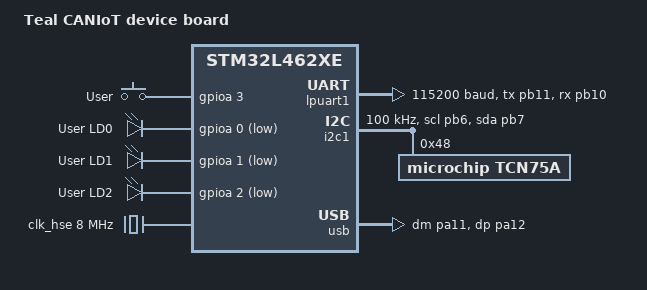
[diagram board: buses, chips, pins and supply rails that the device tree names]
/*
 * Copyright (c) 2024 Lucas Dietrich <ld.adecy@gmail.com>
 *
 * SPDX-License-Identifier: Apache-2.0
 */
 
 /dts-v1/;
 #include <st/l4/stm32l462Xe.dtsi>
 #include <st/l4/stm32l462retx-pinctrl.dtsi>
 #include <zephyr/dt-bindings/input/input-event-codes.h>


/ {
	model = "Teal CANIoT device board";
	compatible = "custom,teal_caniot";

	chosen {
		zephyr,sram = &sram0;
		zephyr,canbus = &can1;
		zephyr,flash = &flash0;
		// zephyr,console = &lpuart1;
		// zephyr,shell-uart = &lpuart1;
		zephyr,console = &usb_cdc_acm_uart;
		zephyr,shell-uart = &usb_cdc_acm_uart;
	};

	gpio_keys {
		compatible = "gpio-keys";
		user_button: button {
			label = "User";
			gpios = <&gpioa 3 GPIO_ACTIVE_HIGH>;
			zephyr,code = <INPUT_KEY_0>;
		};
	};

	leds: leds {
		compatible = "gpio-leds";
		red_led: led_0 {
			gpios = <&gpioa 0 GPIO_ACTIVE_LOW>;
			label = "User LD0";
		};
		green_led: led_1 {
			gpios = <&gpioa 1 GPIO_ACTIVE_LOW>;
			label = "User LD1";
		};
		blue_led: led_2 {
			gpios = <&gpioa 2 GPIO_ACTIVE_LOW>;
			label = "User LD2";
		};
	};

	aliases {
		sw0 = &user_button;
		led0 = &red_led;
		led1 = &green_led;
		led2 = &blue_led;
	};
};

/* clocks */
&clk_lsi {
	status = "okay";
};

&clk_hsi {
	status = "okay";
};

&pll {
	div-m = <1>;
	mul-n = <20>;
	div-r = <2>;
	div-q = <2>;
	div-p = <7>;
	clocks = <&clk_hse>;
	status = "okay";
};

&clk_hse {
	status = "okay";
	clock-frequency = < DT_FREQ_M(8) >;
};

&rcc {
	clocks = <&pll>;
	clock-frequency = <DT_FREQ_M(80)>;
	ahb-prescaler = <1>;
	apb1-prescaler = <1>;
	apb2-prescaler = <1>;
};

/* clock for USB */
&clk_hsi48 {
	status = "okay";
};

/* UARTs */

&can1 {
	status = "disabled";
	pinctrl-0 = <&can1_rx_pb8 &can1_tx_pb9>;
	pinctrl-names = "default";
	bitrate = < 500000 >;
};

&lpuart1 {
	status = "okay";
	pinctrl-0 = <&lpuart1_tx_pb11 &lpuart1_rx_pb10>;
	pinctrl-names = "default";
	current-speed = < 115200 >;
};

&usart3 {
	status = "disabled";
	pinctrl-0 = <&usart3_tx_pc4 &usart3_rx_pc5>;
	pinctrl-names = "default";
	current-speed = < 115200 >;
};

&uart4 {
	status = "disabled";
	pinctrl-0 = <&uart4_tx_pc10 &uart4_rx_pc11>;
	pinctrl-names = "default";
	current-speed = < 115200 >;
};

/* I2C */
&i2c1 {
	status = "okay";
	pinctrl-0 = <&i2c1_scl_pb6 &i2c1_sda_pb7>;
	pinctrl-names = "default";
	clock-frequency = <I2C_BITRATE_STANDARD>; // I2C_BITRATE_FAST

	/* sensor address is 0x48 as A0A1A2=000 */
	tcn75a@48 {
		compatible = "microchip,tcn75a";
		reg = <0x48>;
		resolution = "9-bit"; // Oneshot mode requires 9 bit resolution
		oneshot-mode;
	};
};

/* SPIs */
&spi1 {
	status = "disabled";
	pinctrl-names = "default";
	pinctrl-0 = <&spi1_sck_pb3 &spi1_mosi_pb5 &spi1_miso_pb4>;
	cs-gpios = < &gpiob 2 (GPIO_ACTIVE_LOW | GPIO_PULL_UP) >;
};

&spi2 {
	status = "disabled";
	pinctrl-names = "default";
	pinctrl-0 = <&spi2_sck_pb13 &spi2_mosi_pb15 &spi2_miso_pb14>;
	cs-gpios = < &gpiob 12 (GPIO_ACTIVE_LOW | GPIO_PULL_UP) >;
};

/* ADC */
&adc1 {
	status = "disabled";
	pinctrl-0 = <
		&adc1_in1_pc0 &adc1_in2_pc1 &adc1_in3_pc2 &adc1_in4_pc3
		&adc1_in9_pa4 &adc1_in10_pa5 &adc1_in11_pa6 &adc1_in12_pa7
		&adc1_in15_pb0 &adc1_in16_pb1
	>;
	pinctrl-names = "default";
	st,adc-clock-source = < ASYNC >;
	st,adc-prescaler = < 1 >; // TODO good value?
};

/* timers */
&timers1 {
	status = "disabled";
};

&timers2 {
	status = "disabled";
};

&timers3 {
	status = "disabled";
};

/* USB */
&usb {
	status = "okay";
	pinctrl-0 = <&usb_dm_pa11 &usb_dp_pa12>;
	pinctrl-names = "default";

	usb_cdc_acm_uart: cdc_acm_uart {
		compatible = "zephyr,cdc-acm-uart";
	};
};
